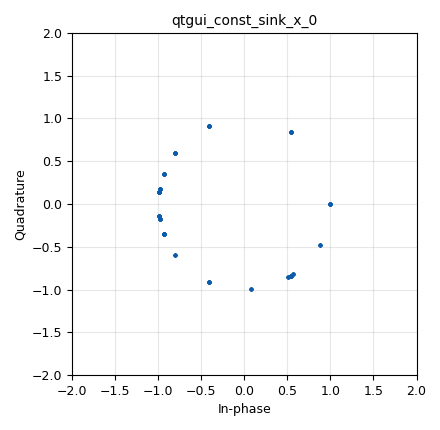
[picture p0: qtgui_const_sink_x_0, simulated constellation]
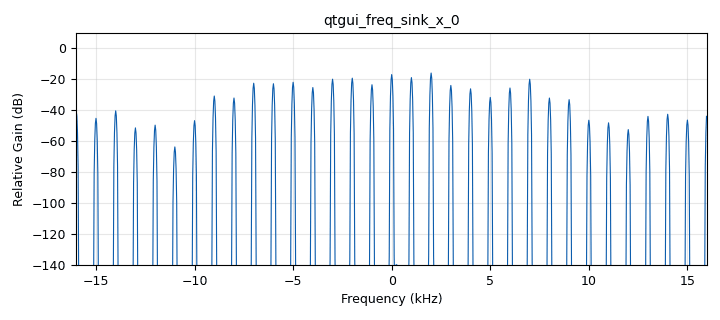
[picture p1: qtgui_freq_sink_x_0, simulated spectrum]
options:
  parameters:
    generate_options: qt_gui
    id: end2end
    output_language: python
    title: Not titled yet
  states: {}

blocks:
- name: samp_rate
  id: variable
  parameters:
    value: '32000'
  states: {}
- name: sps
  id: variable
  parameters:
    value: '2'
  states: {}
- name: blocks_file_sink_0
  id: blocks_file_sink
  parameters:
    file: recieved_data.bin
    type: byte
    unbuffered: 'True'
  states: {}
- name: blocks_pack_k_bits_bb_0
  id: blocks_pack_k_bits_bb
  parameters:
    k: '8'
  states: {}
- name: blocks_throttle2_0
  id: blocks_throttle2
  parameters:
    samples_per_second: samp_rate
    type: byte
  states: {}
- name: blocks_vector_source_x_0
  id: blocks_vector_source_x
  parameters:
    repeat: 'True'
    type: byte
    vector: list(b'\x2D\xD4')
  states: {}
- name: digital_correlate_access_code_xx_ts_0
  id: digital_correlate_access_code_xx_ts
  parameters:
    access_code: '0010110111010100'
    threshold: '0'
    type: byte
  states: {}
- name: digital_gfsk_demod_0
  id: digital_gfsk_demod
  parameters:
    freq_error: '0.0'
    gain_mu: '0.175'
    mu: '0.5'
    omega_relative_limit: '0.005'
    samples_per_symbol: sps
    sensitivity: '1.0'
  states: {}
- name: digital_gfsk_mod_0
  id: digital_gfsk_mod
  parameters:
    bt: '0.35'
    samples_per_symbol: sps
    sensitivity: '1.0'
  states: {}
- name: qtgui_const_sink_x_0
  id: qtgui_const_sink_x
  parameters:
    size: '1024'
    type: complex
  states: {}
- name: qtgui_freq_sink_x_0
  id: qtgui_freq_sink_x
  parameters:
    bw: samp_rate
    fc: '0'
    fftsize: '1024'
    type: complex
  states: {}

connections:
- [blocks_pack_k_bits_bb_0, '0', blocks_file_sink_0, '0']
- [blocks_throttle2_0, '0', digital_gfsk_mod_0, '0']
- [blocks_vector_source_x_0, '0', blocks_throttle2_0, '0']
- [digital_correlate_access_code_xx_ts_0, '0', blocks_pack_k_bits_bb_0, '0']
- [digital_gfsk_demod_0, '0', digital_correlate_access_code_xx_ts_0, '0']
- [digital_gfsk_mod_0, '0', digital_gfsk_demod_0, '0']
- [digital_gfsk_mod_0, '0', qtgui_const_sink_x_0, '0']
- [digital_gfsk_mod_0, '0', qtgui_freq_sink_x_0, '0']

metadata:
  file_format: 1
  grc_version: 3.10.9.2
